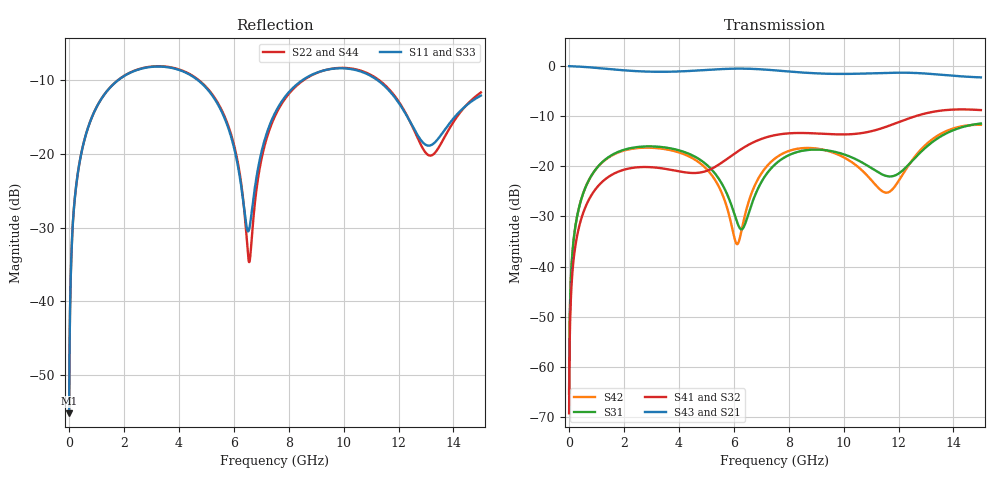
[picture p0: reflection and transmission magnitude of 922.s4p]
! Created with skrf 1.8.0 (http://scikit-rf.org).
# GHz S RI R 50.0
!freq ReS11 ImS11 ReS12 ImS12 ReS13 ImS13
! ReS14 ImS14
! ReS21 ImS21 ReS22 ImS22 ReS23 ImS23
! ReS24 ImS24
! ReS31 ImS31 ReS32 ImS32 ReS33 ImS33
! ReS34 ImS34
! ReS41 ImS41 ReS42 ImS42 ReS43 ImS43
! ReS44 ImS44
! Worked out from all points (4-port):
!   2499 points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, 5 MHz to 15 GHz, reference 50 ohm
!   strongest paths, dB at 5 MHz, 3.476 GHz, 7.19 GHz, 11.1 GHz, 15 GHz:
!     S43: 0.0, -1.1, -0.7, -1.4, -2.3
!     S21: 0.0, -1.1, -0.7, -1.4, -2.2
!     S41: -69.3, -20.5, -14.2, -12.9, -8.8
!     S32: -69.3, -20.5, -14.2, -12.9, -8.8
!     S31: -65.3, -16.2, -21.6, -20.6, -11.5
!     S42: -65.3, -16.5, -20.1, -23.3, -11.7
!   lowest |S11| = -55.3 dB at 5 MHz (marker M1), VSWR 1.00, Z = 50.1 + j0.105 ohm
!   |S11| at or under -10 dB: start of sweep to 1.778 GHz; 4.707 GHz to 8.487 GHz (3.78 GHz wide, 57.3 % of centre); 11.25 GHz to end of sweep
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0.005  0.00137 0.00105  0.9986 -0.00268  6.81e-05 0.000538  -6.61e-05 -0.000338
       0.9986 -0.00268  0.00137 0.00105  -6.61e-05 -0.000338  6.8e-05 0.000538
       6.81e-05 0.000538  -6.61e-05 -0.000338  0.00137 0.00105  0.9986 -0.00268
       -6.61e-05 -0.000338  6.8e-05 0.000538  0.9986 -0.00268  0.00137 0.00105
0.4126719  0.0272 0.0894  0.9623 -0.218  0.0132 0.0415  -0.0107 -0.0257
           0.9623 -0.218  0.0273 0.0894  -0.0107 -0.0257  0.0126 0.0417
           0.0132 0.0415  -0.0107 -0.0257  0.0272 0.0894  0.9623 -0.218
           -0.0107 -0.0257  0.0126 0.0417  0.9623 -0.218  0.0273 0.0894
1.925802  0.2807 0.1759  0.5237 -0.7456  0.1342 0.0523  -0.0912 -0.0019
          0.5237 -0.7456  0.283 0.1742  -0.0912 -0.00186  0.1274 0.062
          0.1342 0.0523  -0.0912 -0.00186  0.2807 0.1759  0.5238 -0.7456
          -0.0912 -0.0019  0.1274 0.062  0.5238 -0.7456  0.283 0.1742
5.227178  0.1733 -0.1783  -0.6874 -0.6168  0.0237 -0.0877  -0.0441 0.0849
          -0.6874 -0.6168  0.1676 -0.1892  -0.0438 0.0853  0.0556 -0.0572
          0.0237 -0.0877  -0.0438 0.0853  0.1743 -0.1777  -0.6872 -0.6169
          -0.0441 0.0849  0.0556 -0.0572  -0.6872 -0.6169  0.1671 -0.1901
6.496457  0.0297 -0.00558  -0.9383 -0.0833  -0.0169 0.026  -0.0106 0.1614
          -0.9383 -0.0833  0.0184 -0.0138  -0.00976 0.1614  0.023 0.033
          -0.0169 0.026  -0.00976 0.1614  0.0319 -0.00633  -0.9382 -0.0838
          -0.0106 0.1614  0.023 0.033  -0.9382 -0.0838  0.0164 -0.0148
10.47311  0.3642 -0.0696  0.1369 0.8262  0.0536 -0.1038  0.2004 -0.0676
          0.1369 0.8262  0.3676 -0.0748  0.1999 -0.0686  0.0581 -0.0832
          0.0536 -0.1038  0.1999 -0.0686  0.3601 -0.0721  0.1372 0.8276
          0.2004 -0.0676  0.0581 -0.0832  0.1372 0.8276  0.3647 -0.071
15  0.2421 0.0597  0.5835 -0.506  0.2534 0.0854  -0.2942 -0.2148
    0.5835 -0.506  0.2489 0.0818  -0.2965 -0.2127  0.2255 0.1285
    0.2534 0.0854  -0.2965 -0.2127  0.2428 0.0612  0.5828 -0.5058
    -0.2942 -0.2148  0.2255 0.1285  0.5828 -0.5058  0.2513 0.0845
